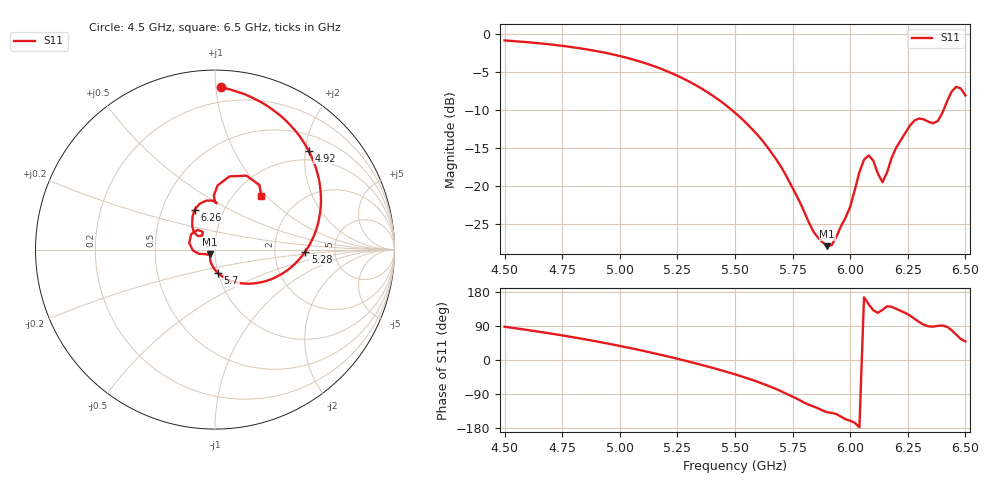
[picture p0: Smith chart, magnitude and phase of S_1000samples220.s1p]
! TOUCHSTONE file generated by CST MICROWAVE STUDIO
! Date and time: Thu Oct 27 10:17:37 2022
! Project name: L.cst
! Parameters = {Di=1.27; Epsilon_r=1.56; InnerDiameter=1.27; Length=2; Lf=10; Lg=60; OuterConductorThickness=0.2921; OuterDiameter=3.6; Wf=3; Wp=41.2; de=1.5; df=6.8; g=0.8; gx=4.00089; gy=3.31709; h=2.34; hf=1.524; px=14.8887; py=13.1569; w=9.7; wx=10.8878; wy=9.83984}
! Header version: 2018
! Port assignment regex: !\s*Touchstone port\s*([0-9]+)\s*=\s*(CST MWS port|CST DS port)\s*([0-9]+|Zmin|Zmax)\s*\(\"(.*)\"\)(\s*mode\s*([0-9]+))?.*
! Touchstone port assignment:
! Touchstone port 1 = CST MWS port 1 ("")
# GHz S DB R 50
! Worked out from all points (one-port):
!   101 points, 4.5 GHz to 6.5 GHz, reference 50 ohm
!   lowest |S11| = -28.0 dB at 5.9 GHz (marker M1), VSWR 1.08, Z = 47.1 - j2.53 ohm
!   |S11| at or under -10 dB: 5.484 GHz to 6.406 GHz (921.3 MHz wide, 15.5 % of centre)
!   S11 on the Smith chart (normalised r, x): 4.5 GHz: 0.10, +1.03; 4.92 GHz: 0.79, +2.07; 5.28 GHz: 3.03, -0.09; 5.7 GHz: 1.00, -0.27; 6.26 GHz: 0.73, +0.34; 6.5 GHz: 1.33, +0.93
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4.5  -0.87 87.8
4.76  -1.62 63.9
4.92  -2.39 46.6
5  -2.93 37.1
5.12  -3.96 21.7
5.26  -5.66 1.8
5.28  -5.96 -1.2
5.4  -8.08 -20.3
5.5  -10.40 -37.8
5.7  -17.51 -82.5
5.76  -20.88 -99.5
5.84  -26.03 -122.5
5.9  -27.97 -137.9
5.92  -27.82 -139.6
6  -22.77 -160.3
6.06  -16.57 165.6
6.08  -16.02 147.2
6.1  -16.69 131.4
6.14  -19.54 132.2
6.2  -14.97 134.9
6.26  -12.05 117.0
6.3  -11.14 99.9
6.34  -11.58 88.8
6.38  -11.49 90.0
6.42  -8.92 87.7
6.44  -7.62 78.9
6.48  -7.19 55.4
6.5  -8.12 48.9
